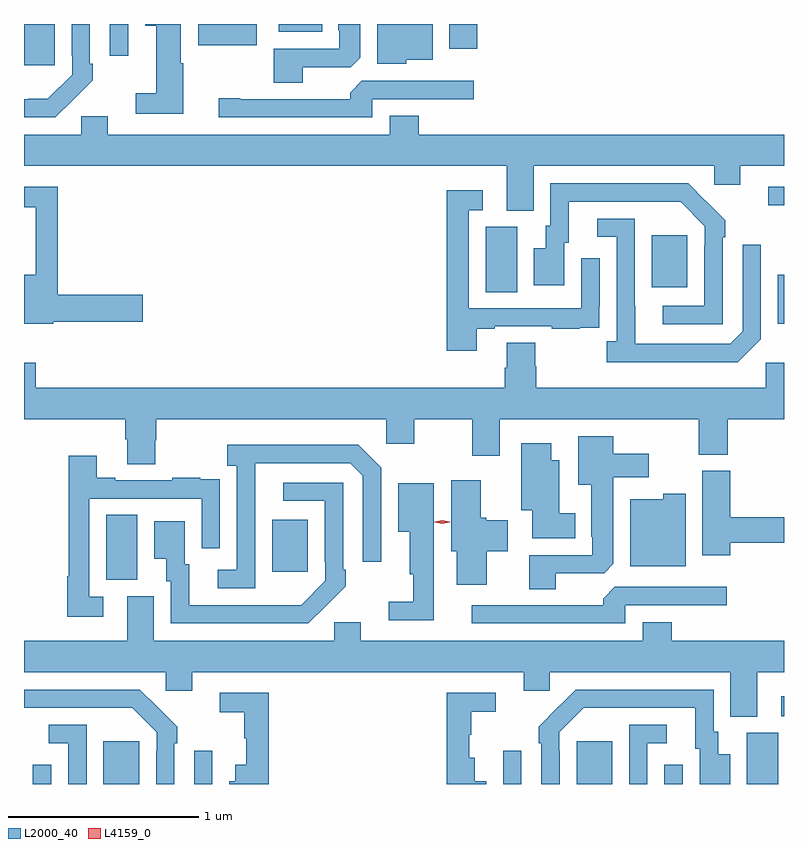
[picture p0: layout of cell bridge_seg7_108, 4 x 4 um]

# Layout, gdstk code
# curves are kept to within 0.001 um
import gdstk
lib = gdstk.Library(unit=1e-6, precision=1e-09)
def R(c, l, rs):  # rectangles x0, y0, x1, y1
    for r in rs: c.add(gdstk.rectangle(r[:2], r[2:], *l))
def P(c, l, *ps):  # polygons
    for p in ps: c.add(gdstk.Polygon(p, *l))
L2000_40 = (2000, 40)
L4159_0 = (4159, 0)

bridge_seg7_108 = lib.new_cell('bridge_seg7_108')
R(bridge_seg7_108, L2000_40, [(1079.796,1005.355,1079.892,1005.457), (1080.167,1005.355,1080.355,1005.58), (1080.645,1005.355,1080.741,1005.529), (1082.271,1005.355,1082.367,1005.529), (1082.657,1005.355,1082.845,1005.58), (1083.12,1005.355,1083.216,1005.457), (1083.554,1005.355,1083.718,1005.624), (1083.735,1005.711,1083.749,1005.817), (1080.182,1006.429,1080.346,1006.772), (1081.055,1006.473,1081.243,1006.747), (1083.716,1007.777,1083.749,1008.034), (1082.18,1007.944,1082.344,1008.288), (1083.053,1007.969,1083.241,1008.244), (1083.666,1008.4,1083.749,1008.498), (1079.749,1009.137,1079.911,1009.355), (1080.201,1009.188,1080.297,1009.355), (1081.988,1009.224,1082.135,1009.355), (1080.665,1009.244,1080.973,1009.355), (1081.091,1009.313,1081.318,1009.355)])
P(bridge_seg7_108, L2000_40, [(1080.587,1009.148),(1080.574,1009.148),(1080.574,1009.355),(1080.386,1009.355),(1080.386,1009.346),(1080.446,1009.346),(1080.446,1008.991),(1080.336,1008.991),(1080.336,1008.882),(1080.587,1008.882)],
  [(1080.005,1008.955),(1080.006,1008.954),(1080.111,1009.059),(1080.111,1009.147),(1080.096,1009.147),(1080.096,1009.355),(1080,1009.355),(1080,1009.189),(1080.003,1009.189),(1080.003,1009.089),(1079.875,1008.961),(1079.749,1008.96),(1079.749,1008.864),(1079.914,1008.864)],
  [(1081.216,1009.128),(1081.47,1009.128),(1081.519,1009.177),(1081.519,1009.355),(1081.403,1009.355),(1081.403,1009.321),(1081.407,1009.321),(1081.407,1009.224),(1081.064,1009.224),(1081.064,1009.045),(1081.216,1009.045)],
  [(1081.761,1009.166),(1081.9,1009.166),(1081.9,1009.355),(1081.607,1009.355),(1081.607,1009.145),(1081.761,1009.145)],
  [(1081.581,1008.96),(1082.116,1008.96),(1082.116,1009.056),(1081.527,1009.056),(1081.466,1008.994),(1081.466,1008.96),(1080.886,1008.96),(1080.886,1008.965),(1080.774,1008.965),(1080.774,1008.864),(1081.581,1008.864)],
  [(1082.431,1008.608),(1083.381,1008.608),(1083.381,1008.51),(1083.52,1008.51),(1083.52,1008.608),(1083.749,1008.608),(1083.749,1008.772),(1081.826,1008.772),(1081.826,1008.871),(1081.673,1008.871),(1081.673,1008.772),(1080.19,1008.772),(1080.19,1008.87),(1080.051,1008.87),(1080.051,1008.772),(1079.749,1008.772),(1079.749,1008.608),(1082.291,1008.608),(1082.291,1008.373),(1082.431,1008.373)],
  [(1083.426,1008.233),(1083.441,1008.233),(1083.441,1008.321),(1083.244,1008.516),(1082.52,1008.516),(1082.52,1008.294),(1082.495,1008.294),(1082.495,1008.175),(1082.432,1008.175),(1082.432,1007.979),(1082.593,1007.979),(1082.593,1008.204),(1082.617,1008.204),(1082.617,1008.42),(1083.205,1008.42),(1083.333,1008.291),(1083.333,1008.191),(1083.33,1008.191),(1083.33,1007.871),(1083.111,1007.871),(1083.111,1007.775),(1083.426,1007.775)],
  [(1079.904,1007.788),(1080.373,1007.788),(1080.373,1007.93),(1079.927,1007.93),(1079.927,1008.498),(1079.749,1008.498),(1079.749,1008.39),(1079.81,1008.39),(1079.81,1008.034),(1079.749,1008.034),(1079.749,1007.777),(1079.904,1007.777)],
  [(1082.131,1007.751),(1082.227,1007.751),(1082.227,1007.763),(1082.527,1007.763),(1082.527,1007.751),(1082.675,1007.751),(1082.675,1007.757),(1082.777,1007.757),(1082.777,1007.866),(1082.778,1007.866),(1082.778,1008.121),(1082.682,1008.121),(1082.682,1007.859),(1082.091,1007.859),(1082.091,1008.375),(1082.164,1008.375),(1082.164,1008.481),(1081.975,1008.481),(1081.975,1007.634),(1082.131,1007.634)],
  [(1083.627,1007.697),(1083.627,1008.193),(1083.531,1008.193),(1083.531,1007.739),(1083.465,1007.673),(1082.965,1007.673),(1082.964,1008.33),(1082.766,1008.33),(1082.766,1008.234),(1082.868,1008.234),(1082.868,1007.686),(1082.817,1007.686),(1082.817,1007.576),(1083.506,1007.576)],
  [(1080.441,1007.163),(1080.446,1007.163),(1080.446,1007.276),(1081.656,1007.276),(1081.656,1007.145),(1081.803,1007.145),(1081.803,1007.276),(1082.107,1007.276),(1082.107,1007.082),(1082.254,1007.082),(1082.254,1007.276),(1083.299,1007.276),(1083.299,1007.089),(1083.452,1007.089),(1083.452,1007.276),(1083.749,1007.276),(1083.749,1007.572),(1083.654,1007.572),(1083.654,1007.44),(1082.444,1007.44),(1082.444,1007.553),(1082.439,1007.553),(1082.439,1007.678),(1082.291,1007.678),(1082.291,1007.546),(1082.279,1007.546),(1082.279,1007.44),(1079.81,1007.44),(1079.81,1007.572),(1079.749,1007.572),(1079.749,1007.276),(1080.281,1007.276),(1080.281,1007.17),(1080.293,1007.17),(1080.293,1007.038),(1080.441,1007.038)],
  [(1082.548,1006.464),(1082.802,1006.464),(1082.851,1006.513),(1082.851,1006.97),(1083.037,1006.97),(1083.037,1007.092),(1082.851,1007.092),(1082.851,1007.185),(1082.666,1007.185),(1082.666,1006.931),(1082.735,1006.931),(1082.735,1006.657),(1082.739,1006.657),(1082.739,1006.56),(1082.408,1006.56),(1082.408,1006.381),(1082.548,1006.381)],
  [(1082.65,1006.78),(1082.566,1006.78),(1082.566,1007.059),(1082.524,1007.059),(1082.524,1007.149),(1082.366,1007.149),(1082.366,1006.796),(1082.423,1006.796),(1082.423,1006.649),(1082.65,1006.649)],
  [(1080.966,1006.843),(1080.967,1007.043),(1081.467,1007.043),(1081.533,1006.977),(1081.533,1006.524),(1081.629,1006.524),(1081.629,1007.019),(1081.508,1007.14),(1080.819,1007.14),(1080.819,1007.03),(1080.87,1007.03),(1080.87,1006.482),(1080.768,1006.482),(1080.768,1006.386),(1080.966,1006.386)],
  [(1080.166,1006.341),(1080.093,1006.341),(1080.093,1006.857),(1080.684,1006.857),(1080.684,1006.596),(1080.78,1006.596),(1080.78,1006.85),(1080.779,1006.85),(1080.779,1006.959),(1080.677,1006.959),(1080.677,1006.966),(1080.529,1006.966),(1080.529,1006.953),(1080.229,1006.953),(1080.229,1006.966),(1080.133,1006.966),(1080.133,1007.083),(1079.985,1007.083),(1079.985,1006.448),(1079.977,1006.448),(1079.977,1006.236),(1080.166,1006.236)],
  [(1083.467,1006.624),(1083.749,1006.624),(1083.749,1006.76),(1083.467,1006.76),(1083.467,1007.004),(1083.32,1007.004),(1083.32,1006.56),(1083.467,1006.56)],
  [(1082.185,1006.58),(1082.296,1006.58),(1082.296,1006.743),(1082.181,1006.743),(1082.181,1006.756),(1082.152,1006.756),(1082.152,1006.954),(1081.997,1006.954),(1081.997,1006.58),(1082.027,1006.58),(1082.027,1006.404),(1082.185,1006.404)],
  [(1081.337,1006.291),(1081.338,1006.29),(1081.443,1006.395),(1081.443,1006.483),(1081.428,1006.483),(1081.428,1006.941),(1081.113,1006.941),(1081.113,1006.845),(1081.332,1006.845),(1081.332,1006.525),(1081.335,1006.525),(1081.335,1006.425),(1081.207,1006.297),(1080.619,1006.296),(1080.619,1006.512),(1080.595,1006.512),(1080.595,1006.738),(1080.434,1006.738),(1080.434,1006.541),(1080.497,1006.541),(1080.497,1006.422),(1080.522,1006.422),(1080.522,1006.2),(1081.246,1006.2)],
  [(1081.905,1006.584),(1081.906,1006.584),(1081.906,1006.939),(1081.718,1006.939),(1081.718,1006.682),(1081.778,1006.682),(1081.778,1006.46),(1081.797,1006.46),(1081.797,1006.315),(1081.668,1006.315),(1081.668,1006.218),(1081.905,1006.218)],
  [(1083.232,1006.882),(1083.114,1006.882),(1083.114,1006.855),(1082.939,1006.855),(1082.939,1006.502),(1083.232,1006.502)],
  [(1082.913,1006.296),(1083.448,1006.296),(1083.448,1006.392),(1082.859,1006.392),(1082.798,1006.33),(1082.798,1006.296),(1082.106,1006.296),(1082.106,1006.2),(1082.913,1006.2)],
  [(1083.005,1006.207),(1083.005,1006.108),(1081.522,1006.108),(1081.522,1006.206),(1081.383,1006.206),(1081.383,1006.108),(1080.433,1006.108),(1080.433,1006.344),(1080.293,1006.344),(1080.293,1006.108),(1079.749,1006.108),(1079.749,1005.944),(1080.495,1005.944),(1080.495,1005.846),(1080.634,1005.846),(1080.634,1005.944),(1082.378,1005.944),(1082.378,1005.846),(1082.517,1005.846),(1082.517,1005.944),(1083.467,1005.944),(1083.467,1005.709),(1083.607,1005.709),(1083.607,1005.944),(1083.749,1005.944),(1083.749,1006.108),(1083.158,1006.108),(1083.158,1006.207)],
  [(1082.568,1005.527),(1082.565,1005.527),(1082.565,1005.627),(1082.694,1005.756),(1083.281,1005.756),(1083.281,1005.54),(1083.305,1005.54),(1083.305,1005.355),(1083.466,1005.355),(1083.466,1005.511),(1083.403,1005.511),(1083.403,1005.63),(1083.378,1005.63),(1083.378,1005.852),(1082.654,1005.852),(1082.457,1005.657),(1082.457,1005.569),(1082.472,1005.569),(1082.472,1005.355),(1082.568,1005.355)],
  [(1080.54,1005.569),(1080.555,1005.569),(1080.555,1005.657),(1080.358,1005.852),(1079.749,1005.852),(1079.749,1005.756),(1080.319,1005.756),(1080.447,1005.627),(1080.447,1005.527),(1080.444,1005.527),(1080.444,1005.355),(1080.54,1005.355)],
  [(1081.037,1005.834),(1080.78,1005.834),(1080.78,1005.733),(1080.909,1005.733),(1080.909,1005.597),(1080.92,1005.597),(1080.92,1005.457),(1080.86,1005.457),(1080.86,1005.37),(1080.83,1005.37),(1080.83,1005.355),(1081.037,1005.355)],
  [(1082.182,1005.37),(1082.122,1005.37),(1082.122,1005.493),(1082.093,1005.493),(1082.093,1005.615),(1082.104,1005.615),(1082.104,1005.736),(1082.233,1005.736),(1082.233,1005.834),(1081.975,1005.834),(1081.975,1005.355),(1082.182,1005.355)],
  [(1080.078,1005.666),(1079.88,1005.666),(1079.88,1005.57),(1079.982,1005.57),(1079.982,1005.355),(1080.078,1005.355)],
  [(1083.03,1005.57),(1083.133,1005.57),(1083.133,1005.666),(1082.934,1005.666),(1082.934,1005.355),(1083.03,1005.355)])
P(bridge_seg7_108, L4159_0, [(1081.95,1006.724),(1081.91,1006.733),(1081.91,1006.733),(1081.91,1006.734),(1081.95,1006.743),(1081.991,1006.734),(1081.991,1006.733),(1081.991,1006.733)])

lib.write_gds('bridge_seg7_108.gds')
